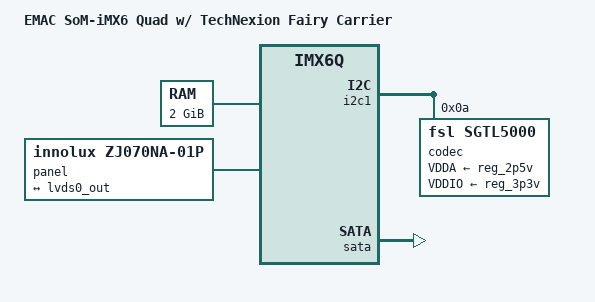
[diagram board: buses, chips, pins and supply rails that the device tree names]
/*
 * Copyright 2016 EMAC Inc.
 * Copyright 2016 QWERTY Embedded Design
 *
 * Author: Michael Welling <mwelling@ieee.org>
 *
 * This program is free software; you can redistribute it and/or modify
 * it under the terms of the GNU General Public License version 2 as
 * published by the Free Software Foundation.
 *
 */

/dts-v1/;
#include "imx6q.dtsi"
#include "som-imx6dq.dtsi"


/ {
	model = "EMAC SoM-iMX6 Quad w/ TechNexion Fairy Carrier";
	compatible = "emac,som-imx6q-tfc", "fsl,imx6q";

	memory {
		reg = <0x10000000 0x80000000>;
	};

	sound {
		compatible = "fsl,imx6-tfc-sgtl5000",
			     "fsl,imx-audio-sgtl5000";
		model = "imx6-tfc-sgtl5000";
		ssi-controller = <&ssi1>;
		audio-codec = <&codec>;
		audio-routing =
			"MIC_IN", "Mic Jack",
			"Mic Jack", "Mic Bias",
			"Headphone Jack", "HP_OUT";
		mux-int-port = <1>;
		mux-ext-port = <4>;
	};

	panel {
		compatible = "innolux,zj070na-01p";

		port {
			panel_in: endpoint {
				remote-endpoint = <&lvds0_out>;
			};
		};
	};
};

&i2c1 {
	codec: sgtl5000@0a {
		compatible = "fsl,sgtl5000";
		reg = <0x0a>;
		clocks = <&ref12288>;
		VDDA-supply = <&reg_2p5v>;
		VDDIO-supply = <&reg_3p3v>;
	};
};

&iomuxc {
	pinctrl-0 = <&pinctrl_hog>;

	imx6qdl-tfc {
		pinctrl_hog: hoggrp {
			fsl,pins = <
				MX6QDL_PAD_GPIO_0__CCM_CLKO1		0x130b0		/* GPIO_0_CLKO */
				MX6QDL_PAD_GPIO_2__GPIO1_IO02		0x80000000	/* uSDHC1 CD */
				MX6QDL_PAD_EIM_DA9__GPIO3_IO09		0x80000000	/* uSDHC3 CD */
				MX6QDL_PAD_CSI0_DAT14__GPIO6_IO00	0x0f0b0		/* WIFI_ON (reset, active low) */
				MX6QDL_PAD_ENET_RXD1__GPIO1_IO26	0x000b0		/* WL_REG_ON (unused) */
				MX6QDL_PAD_ENET_TXD1__GPIO1_IO29	0x80000000	/* WL_HOST_WAKE, input */
				MX6QDL_PAD_CSI0_DAT13__GPIO5_IO31	0x0f0b0		/* GPIO5_IO31 (Wifi Power Enable) */
				MX6QDL_PAD_ENET_TXD0__GPIO1_IO30	0x80000000	/* WL_WAKE (unused) */
				MX6QDL_PAD_CSI0_VSYNC__GPIO5_IO21	0x80000000	/* BT_ON */
				MX6QDL_PAD_CSI0_DAT12__GPIO5_IO30	0x80000000	/* BT_WAKE */
				MX6QDL_PAD_CSI0_DATA_EN__GPIO5_IO20	0x80000000	/* BT_HOST_WAKE */
				MX6QDL_PAD_EIM_D29__GPIO3_IO29		0x80000000	/* RGMII_nRST */
			>;
		};
	};
};

&sata {
	status = "okay";
};
